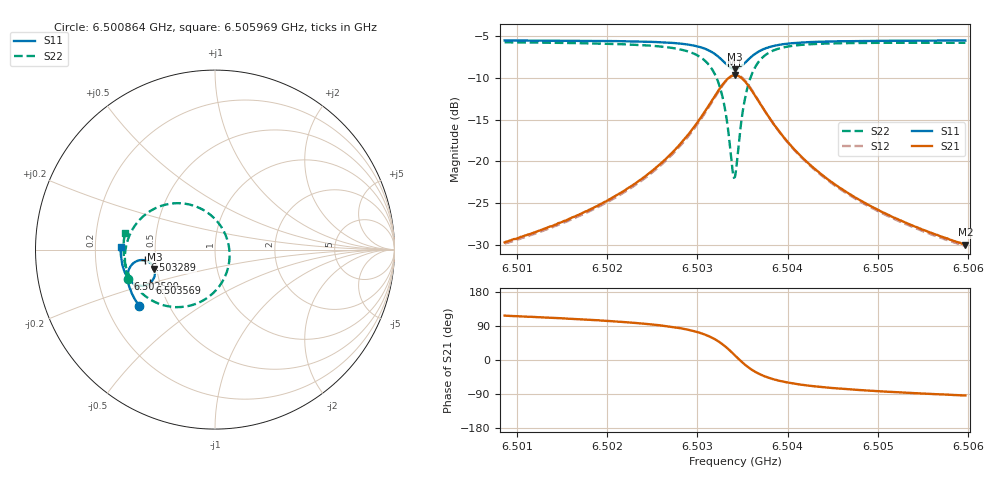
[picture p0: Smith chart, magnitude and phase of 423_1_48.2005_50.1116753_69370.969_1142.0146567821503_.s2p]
#  HZ  S  RI  R  50.00
! Rohde & Schwarz Vector Network Analyzer
! Rohde-Schwarz,ZNB20-2Port,1311601062101988,3.16
! Created: UTC 3/20/2024, 11:55:00 AM
! freq[Hz]  re:S11  im:S11  re:S21  im:S21  re:S12  im:S12  re:S22  im:S22
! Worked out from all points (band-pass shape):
!   401 points, 6.500864 GHz to 6.505969 GHz, reference 50 ohm
!   highest |S21| = -9.72 dB at 6.503416 GHz (marker M1); lowest = -29.9 dB at 6.505969 GHz (marker M2)
!   |S21| within 3 dB of the highest: 6.503162 GHz to 6.503672 GHz (509.8 kHz wide, 0.00784 % of centre)
!   lowest |S11| = -9.0 dB at 6.503416 GHz (marker M3), VSWR 2.10, Z = 24.3 - j5.99 ohm
!   |S11| at or under -10 dB: nowhere
!   |S22| runs from -21.9 to -5.8 dB; largest |S21 - S12| = 0.011
!   S11 on the Smith chart (normalised r, x): 6.500864 GHz: 0.34, -0.30; 6.502599 GHz: 0.33, -0.15; 6.503289 GHz: 0.44, -0.06; 6.503569 GHz: 0.44, -0.20; 6.505969 GHz: 0.31, +0.01
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6.5008635e9  -0.4224 -0.3144  -0.015 0.0293  -0.0132 0.0296  -0.4869 -0.1627
6.5017186e9  -0.4598 -0.2519  -0.0145 0.0469  -0.0121 0.0465  -0.5016 -0.0732
6.5021654e9  -0.4757 -0.213  -0.0118 0.0647  -0.00901 0.0638  -0.5 -0.0112
6.5025738e9  -0.486 -0.1689  -0.00303 0.095  0.000705 0.0929  -0.4809 0.0677
6.5025993e9  -0.4864 -0.1656  -0.00176 0.0979  0.0019 0.0955  -0.4786 0.074
6.5028929e9  -0.4832 -0.1209  0.0249 0.1413  0.0286 0.137  -0.4231 0.1626
6.5030843e9  -0.4622 -0.0829  0.078 0.1833  0.0805 0.1771  -0.3215 0.2353
6.5031992e9  -0.4303 -0.0619  0.146 0.201  0.147 0.1948  -0.1988 0.2585
6.5032885e9  -0.3903 -0.0598  0.2249 0.1858  0.2253 0.1805  -0.0627 0.2198
6.5033268e9  -0.3711 -0.0673  0.261 0.1631  0.262 0.1586  -0.00307 0.1738
6.5033906e9  -0.3444 -0.0934  0.309 0.1001  0.3116 0.0952  0.0693 0.0525
6.5034162e9  -0.3379 -0.1079  0.3195 0.0681  0.3225 0.0624  0.0806 -0.00702
6.5034417e9  -0.3348 -0.1234  0.3233 0.0345  0.3267 0.0278  0.0791 -0.068
6.5035055e9  -0.3418 -0.1605  0.3058 -0.043  0.3078 -0.0528  0.025 -0.203
6.5035693e9  -0.3627 -0.1864  0.2634 -0.0971  0.2623 -0.1082  -0.0708 -0.2859
6.5036714e9  -0.4021 -0.2017  0.1891 -0.1335  0.1838 -0.1428  -0.2199 -0.3206
6.5038373e9  -0.448 -0.192  0.1078 -0.1306  0.1007 -0.1357  -0.3664 -0.2745
6.504016e9  -0.4754 -0.1707  0.0636 -0.1108  0.0575 -0.1131  -0.4381 -0.21
6.5042713e9  -0.4962 -0.1407  0.0337 -0.0867  0.029 -0.0873  -0.4812 -0.1383
6.504667e9  -0.512 -0.0998  0.0145 -0.0633  0.0113 -0.0628  -0.504 -0.0617
6.5051264e9  -0.5211 -0.0576  0.00503 -0.0475  0.00274 -0.0468  -0.5099 0.00198
6.5059688e9  -0.5259 0.0133  -0.00197 -0.0318  -0.00335 -0.0311  -0.5019 0.0902
